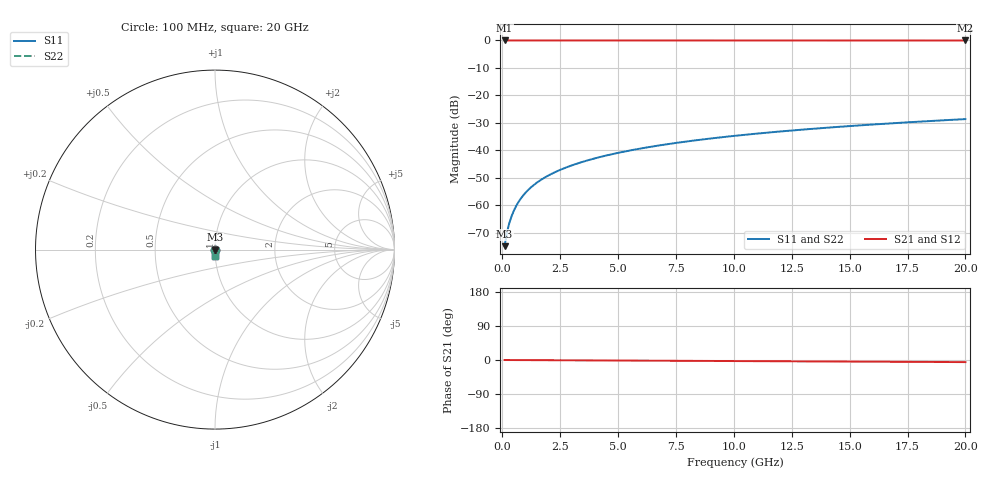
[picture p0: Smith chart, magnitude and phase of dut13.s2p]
! Touchstone file exported from HFSS 2026.1.0
!  File:  C:/ffzhzh/LocalFiles/Ansys_Project_Files/temp_val_TSV_13_1782974964_6388.aedt
!  Generated:  02:50:40 PM Jul  2, 2026
!  Design:  TSV
!  Project:  temp_val_TSV_13_1782974964_6388
! Variables:
!  h_bsmrdl = 2um
!  h_ox = 20um
!  h_rdl = 5um
!  h_sub = 52.69um
!  h_tmrdl = 5um
!  h_tsv = 52.69um
!  h_via = 3um
!  l_bsmrdl = 300um
!  l_sub = 419.22um
!  l_tmrdl = 200um
!  m_sub = 200um
!  pitch = 27.5um
!  r_tsv = 9.61um
!  s_tmrdl = 10um
!  w_bsmrdl = 18um
!  w_sub = 500um
!  w_tmrdl = 12um
!  x_tsv_center1 = 206um
!  x_tsv_center2 = 524um
!  x_tsv_center3 = 736um
!  x_tsv_center4 = 1054um
!  x_tsv_center5 = 1266um
!  x_tsv_center6 = 1584um
# GHz S MA R 50.000000
! Terminal data exported
! Port[1] = TSV1_1_T1
! Port[2] = TSV1_1_T2
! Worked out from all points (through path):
!   200 points, 100 MHz to 20 GHz, reference 50 ohm
!   highest |S21| = 0.00 dB at 100 MHz (marker M1); lowest = 0.0 dB at 20 GHz (marker M2)
!   lowest |S11| = -74.8 dB at 100 MHz (marker M3), VSWR 1.00, Z = 50 - j0.0146 ohm
!   |S11| at or under -10 dB: start of sweep to end of sweep
!   |S22| runs from -74.8 to -28.6 dB; largest |S21 - S12| = 1.2e-15
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0.1  0.0001819 -53.6  0.9999 -0.0  0.9999 -0.0  0.0001819 -53.6
! Gamma 0 0 0 0
! Port Impedance 50 0 50 0
0.2  0.0003202 -67.8  0.9999 -0.1  0.9999 -0.1  0.0003202 -67.8
0.3  0.0004737 -72.9  0.9999 -0.1  0.9999 -0.1  0.0004737 -72.9
0.4  0.0006363 -75.4  0.9998 -0.1  0.9998 -0.1  0.0006363 -75.4
0.5  0.0008055 -77.0  0.9998 -0.1  0.9998 -0.1  0.0008055 -77.0
0.7  0.001157 -79.1  0.9998 -0.2  0.9998 -0.2  0.001157 -79.1
0.8  0.001336 -79.9  0.9998 -0.2  0.9998 -0.2  0.001336 -79.9
1  0.001699 -81.2  0.9997 -0.3  0.9997 -0.3  0.001699 -81.2
1.2  0.002063 -82.3  0.9997 -0.3  0.9997 -0.3  0.002063 -82.3
1.4  0.002428 -83.1  0.9997 -0.4  0.9997 -0.4  0.002428 -83.1
1.7  0.002976 -84.1  0.9997 -0.5  0.9997 -0.5  0.002976 -84.1
2  0.003523 -84.8  0.9996 -0.6  0.9996 -0.6  0.003523 -84.8
2.7  0.004802 -86.0  0.9996 -0.8  0.9996 -0.8  0.004802 -86.0
3.5  0.006269 -86.9  0.9995 -1.0  0.9995 -1.0  0.006269 -86.9
4.2  0.007559 -87.5  0.9995 -1.2  0.9995 -1.2  0.007559 -87.5
5  0.00904 -88.0  0.9994 -1.4  0.9994 -1.4  0.00904 -88.0
6.8  0.01239 -89.0  0.9993 -1.9  0.9993 -1.9  0.01239 -89.0
8.3  0.0152 -89.7  0.9992 -2.3  0.9992 -2.3  0.0152 -89.7
10.1  0.01857 -90.4  0.999 -2.8  0.999 -2.8  0.01857 -90.4
13.4  0.02476 -91.7  0.9988 -3.7  0.9988 -3.7  0.02476 -91.7
16.7  0.03096 -92.8  0.9985 -4.7  0.9985 -4.7  0.03096 -92.8
20  0.03716 -93.9  0.9982 -5.6  0.9982 -5.6  0.03716 -93.9
